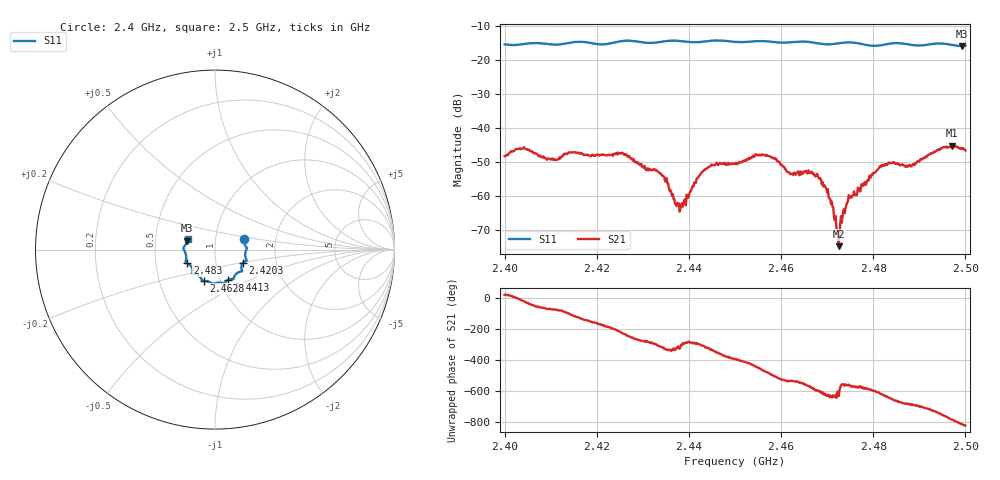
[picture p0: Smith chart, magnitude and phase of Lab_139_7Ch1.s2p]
# Hz S RI R 50
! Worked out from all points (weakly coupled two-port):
!   601 points, 2.4 GHz to 2.5 GHz, reference 50 ohm
!   highest |S21| = -45.11 dB at 2.497 GHz (marker M1); lowest = -74.6 dB at 2.4725 GHz (marker M2)
!   lowest |S11| = -15.8 dB at 2.4993 GHz (marker M3), VSWR 1.39, Z = 36.5 + j3.71 ohm
!   |S11| at or under -10 dB: start of sweep to end of sweep
!   S12 and S22 are empty: the file has one direction only
!   S11 on the Smith chart (normalised r, x): 2.4 GHz: 1.37, +0.16; 2.4203 GHz: 1.35, -0.21; 2.4413 GHz: 1.09, -0.38; 2.4628 GHz: 0.83, -0.30; 2.483 GHz: 0.72, -0.11; 2.5 GHz: 0.73, +0.09
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2.4e9  0.1606 0.057  0.00368 0.00126  0 0  0 0
2.403833e9  0.1706 0.0191  0.00476 -0.00163  0 0  0 0
2.416667e9  0.1762 -0.0614  -0.00313 -0.003  0 0  0 0
2.420333e9  0.1552 -0.074  -0.004 -0.000955  0 0  0 0
2.425833e9  0.1516 -0.1185  -0.00259 0.00331  0 0  0 0
2.433333e9  0.1082 -0.1486  0.00139 0.00183  0 0  0 0
2.437667e9  0.1012 -0.1641  0.000505 0.000551  0 0  0 0
2.441333e9  0.0743 -0.168  0.000678 0.00145  0 0  0 0
2.444667e9  0.0535 -0.1853  0.00249 0.0012  0 0  0 0
2.45e9  0.0293 -0.1839  0.00247 -0.00173  0 0  0 0
2.456333e9  -0.0133 -0.1901  -0.00147 -0.00381  0 0  0 0
2.462833e9  -0.0631 -0.1747  -0.00224 -1.12e-05  0 0  0 0
2.466667e9  -0.0742 -0.1675  -0.00179 0.00145  0 0  0 0
2.469833e9  -0.0911 -0.1448  2.23e-05 0.0013  0 0  0 0
2.4725e9  -0.1148 -0.1348  9.54e-06 0.000186  0 0  0 0
2.474833e9  -0.125 -0.1337  -0.000917 0.00039  0 0  0 0
2.483e9  -0.1546 -0.0768  0.000355 0.00289  0 0  0 0
2.483333e9  -0.1569 -0.0758  0.000666 0.00307  0 0  0 0
2.4885e9  -0.1605 -0.047  0.00242 0.00164  0 0  0 0
2.497e9  -0.1667 0.0234  0.00246 -0.00498  0 0  0 0
2.499333e9  -0.1541 0.0495  -0.000391 -0.00493  0 0  0 0
2.5e9  -0.1525 0.0584  -0.000963 -0.00463  0 0  0 0
